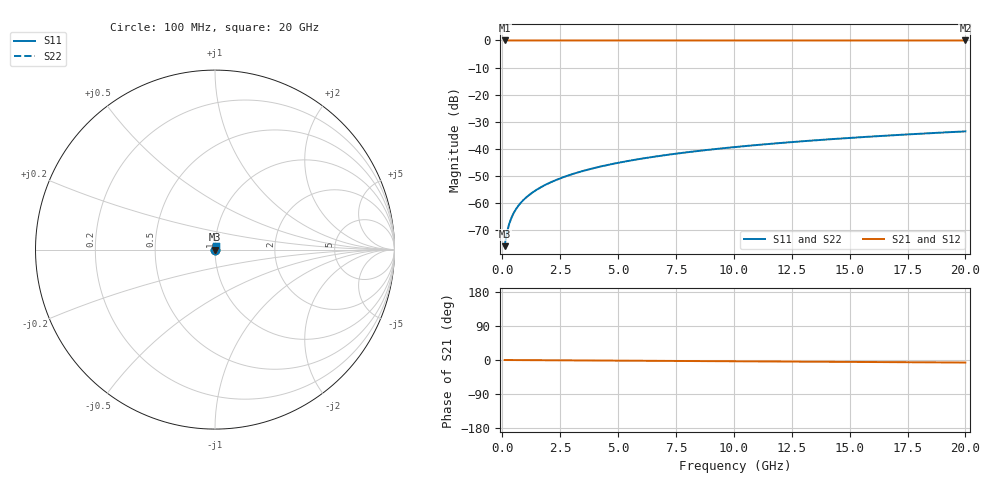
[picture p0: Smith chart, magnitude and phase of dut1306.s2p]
! Touchstone file exported from HFSS 2026.1.0
!  File:  C:/ffzhzh/LocalFiles/Ansys_Project_Files/temp_train_TSV_1306_1783194844_43440.aedt
!  Generated:  03:55:28 AM Jul  5, 2026
!  Design:  TSV
!  Project:  temp_train_TSV_1306_1783194844_43440
! Variables:
!  h_bsmrdl = 2um
!  h_ox = 20um
!  h_rdl = 5um
!  h_sub = 60.32um
!  h_tmrdl = 5um
!  h_tsv = 60.32um
!  h_via = 3um
!  l_bsmrdl = 300um
!  l_sub = 422.76um
!  l_tmrdl = 200um
!  m_sub = 200um
!  pitch = 55.24um
!  r_tsv = 11.38um
!  s_tmrdl = 10um
!  w_bsmrdl = 18um
!  w_sub = 500um
!  w_tmrdl = 12um
!  x_tsv_center1 = 206um
!  x_tsv_center2 = 524um
!  x_tsv_center3 = 736um
!  x_tsv_center4 = 1054um
!  x_tsv_center5 = 1266um
!  x_tsv_center6 = 1584um
# GHz S MA R 50.000000
! Terminal data exported
! Port[1] = TSV1_1_T1
! Port[2] = TSV1_1_T2
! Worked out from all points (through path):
!   200 points, 100 MHz to 20 GHz, reference 50 ohm
!   highest |S21| = 0.00 dB at 100 MHz (marker M1); lowest = 0.0 dB at 20 GHz (marker M2)
!   lowest |S11| = -75.9 dB at 100 MHz (marker M3), VSWR 1.00, Z = 50 + j0.0137 ohm
!   |S11| at or under -10 dB: start of sweep to end of sweep
!   |S22| runs from -75.9 to -33.5 dB; largest |S21 - S12| = 4.3e-15
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0.1  0.0001611 58.4  0.9999 -0.0  0.9999 -0.0  0.0001611 58.4
! Gamma 0 0 0 0
! Port Impedance 50 0 50 0
0.2  0.000288 71.0  0.9999 -0.1  0.9999 -0.1  0.000288 71.0
0.3  0.0004178 75.1  0.9999 -0.1  0.9999 -0.1  0.0004178 75.1
0.4  0.000545 76.8  0.9999 -0.1  0.9999 -0.1  0.000545 76.8
0.5  0.0006685 77.7  0.9999 -0.2  0.9999 -0.2  0.0006685 77.7
0.6  0.0007882 78.3  0.9998 -0.2  0.9998 -0.2  0.0007882 78.3
0.7  0.0009048 78.7  0.9998 -0.2  0.9998 -0.2  0.0009048 78.7
0.9  0.001131 79.3  0.9998 -0.3  0.9998 -0.3  0.001131 79.3
1.1  0.001351 79.9  0.9998 -0.4  0.9998 -0.4  0.001351 79.9
1.3  0.001569 80.5  0.9998 -0.4  0.9998 -0.4  0.001569 80.5
1.6  0.001893 81.2  0.9997 -0.5  0.9997 -0.5  0.001893 81.2
1.9  0.002217 81.8  0.9997 -0.6  0.9997 -0.6  0.002217 81.8
2.6  0.002973 82.7  0.9997 -0.9  0.9997 -0.9  0.002973 82.7
3.5  0.003941 83.3  0.9996 -1.2  0.9996 -1.2  0.003941 83.3
4.2  0.004691 83.5  0.9996 -1.4  0.9996 -1.4  0.004691 83.5
5  0.005542 83.6  0.9995 -1.7  0.9995 -1.7  0.005542 83.6
6.8  0.007441 83.6  0.9994 -2.3  0.9994 -2.3  0.007441 83.6
8.3  0.009012 83.5  0.9994 -2.8  0.9994 -2.8  0.009012 83.5
10.1  0.01089 83.2  0.9993 -3.4  0.9993 -3.4  0.01089 83.2
13.4  0.01431 82.5  0.9992 -4.5  0.9992 -4.5  0.01431 82.5
16.7  0.0177 81.7  0.999 -5.6  0.999 -5.6  0.0177 81.7
20  0.02107 80.8  0.9989 -6.7  0.9989 -6.7  0.02107 80.8
